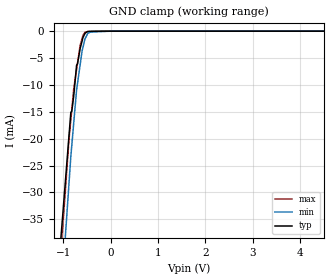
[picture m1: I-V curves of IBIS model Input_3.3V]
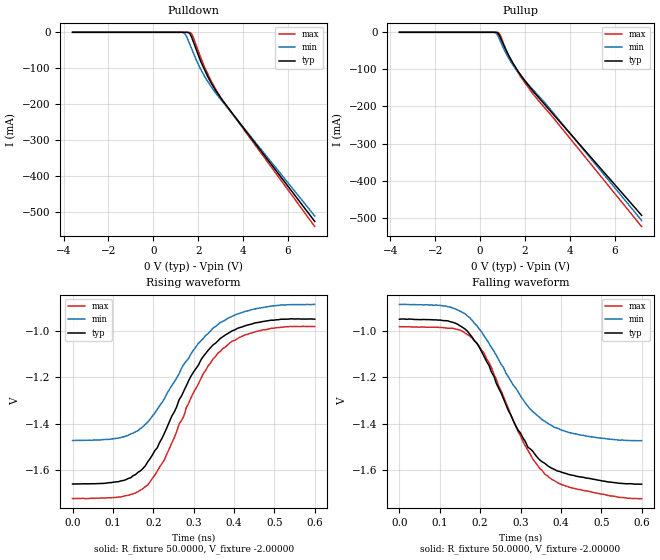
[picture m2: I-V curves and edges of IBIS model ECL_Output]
|COPYRIGHT(C) TERASPEED CONSULTING GROUP LLC 2003 ALL
|RIGHTS RESERVED. THIS WORK CONTAINS PROPRIETARY
|INFORMATION WHICH IS THE PROPERTY OF TERASPEED
|CONSULTING GROUP LLC OR ITS LICENSORS. USE OF THESE
|MATERIALS IS SUBJECT TO THE TERMS BELOW.
|USE: TERASPEED HAS LICENSED IBIS MODELS TO
|SPECIFIC INTEGRATED CIRCUIT SUPPLIERS ("IC VENDORS")
|FOR USE AND DISTRIBUTION AS FOLLOWS: EACH IC VENDOR
|MAY USE IBIS MODELS, AND DISTRIBUTE THEM TO IC VENDOR'S
|CUSTOMERS TO USE, SOLELY FOR DEVELOPING PRINTED
|CIRCUIT BOARD DESIGNS. NO OTHER USE OR DISTRIBUTION
|OF THESE MATERIALS IS PERMITTED.
|DISCLAIMER OF WARRANTY:  UNLESS OTHERWISE AGREED
|IN WRITING, TERASPEED SOFTWARE AND ASSOCIATED
|FILES ARE PROVIDED "AS IS" AND WITHOUT WARRANTY.
|TERASPEED HAS NO OBLIGATION TO SUPPORT OR
|OTHERWISE MAINTAIN SOFTWARE.  TERASPEED MAKES
|NO WARRANTIES, EXPRESS OR IMPLIED WITH RESPECT TO
|SOFTWARE INCLUDING ANY WARRANTY OF MERCHANTABILITY
|OR FITNESS FOR A PARTICULAR PURPOSE.
|LIMITATION OF LIABILITY:  TERASPEED IS NOT LIABLE FOR
|ANY PROPERTY DAMAGE, PERSONAL INJURY, LOSS OF PROFITS,
|INTERRUPTION OF BUSINESS, OR FOR ANY OTHER SPECIAL,
|CONSEQUENTIAL OR INCIDENTAL DAMAGES, HOWEVER CAUSED,
|WHETHER FOR BREACH OF WARRANTY, CONTRACT, TORT
|(INCLUDING NEGLIGENCE), STRICT LIABILITY OR OTHERWISE. IN NO
|EVENT SHALL TERASPEED'S LIABILITY EXCEED THE AMOUNT
|PAID FOR THE PRODUCT GIVING RISE TO THE CLAIM.
|TRADEMARKS:  THE FOLLOWING ARE REGISTERED TRADEMARKS
|OR SERVICE MARKS OF TERASPEED CONSULTING GROUP LLC:
|THE FOLLOWING ARE TRADEMARKS OR SERVICE MARKS OF
|TERASPEED CONSULTING GROUP LLC:
|ALL OTHER BRANDS AND PRODUCT NAMES ARE TRADEMARKS OF
|THEIR RESPECTIVE OWNERS
|COPIES:  ALL COPIES OF SOFTWARE, INCLUDING BUT NOT LIMITED
|TO ANY MODIFICATIONS, ENHANCEMENTS OR DERIVATIVE WORKS
|MUST CONTAIN ALL TERASPEED'S NOTICES AND LEGENDS,
|INCLUDING THOSE EMBEDDED IN SOFTWARE AND THOSE AFFIXED
|TO THE SOFTWARE MEDIUM AND CONTAINER, AS RECEIVED FROM
|TERASPEED.
[IBIS Ver] 3.2
[File Name] mc100ept24d.ibs
[File Rev]  3.0
[Source] Measured and created by Teraspeed Consulting Group LLC
[Date]   09-11-2003
[Notes]  Quality Check of this IBIS model: Model Passes IBIS Check
   Model parses into ICX IS. Simulation done with Hyperlynx.
   1. MIN TYP MAX information is based on Temprature and
   Voltage characteristics only.
[Copyright]
|COPYRIGHT(C) TERASPEED CONSULTING GROUP LLC 2003 ALL
|RIGHTS RESERVED. THIS WORK CONTAINS PROPRIETARY
|INFORMATION WHICH IS THE PROPERTY OF TERASPEED
|CONSULTING GROUP LLC OR ITS LICENSORS. USE OF THESE
|MATERIALS IS SUBJECT TO THE TERMS BELOW.
|USE: TERASPEED HAS LICENSED IBIS MODELS TO
|SPECIFIC INTEGRATED CIRCUIT SUPPLIERS ("IC VENDORS")
|FOR USE AND DISTRIBUTION AS FOLLOWS: EACH IC VENDOR
|MAY USE IBIS MODELS, AND DISTRIBUTE THEM TO IC VENDOR'S
|CUSTOMERS TO USE, SOLELY FOR DEVELOPING PRINTED
|CIRCUIT BOARD DESIGNS. NO OTHER USE OR DISTRIBUTION
|OF THESE MATERIALS IS PERMITTED.
[Component] MC100EPT24D
[Manufacturer] OnSemiconductor
[Package]
| variable   typ   min   max
R_pkg  0.152ohms  0.152ohms  0.152ohms
L_pkg  2.714nH   2.714nH   2.714nH
C_pkg  0.364pF   0.364pF   0.364pF
[Pin] signal_name  model_name  R_pin  L_pin C_pin
1  VEE  POWER   0.154  2.924n  0.374p
2  D   Input_3.3V  0.15   2.504n  0.354p
3  NC   NC   0.15   2.504n  0.354p
4  NC   NC   0.154  2.924n  0.374p
5  GND  GND   0.154  2.924n  0.374p
6  _Q   ECL_Output  0.15   2.504n  0.354p
7  Q   ECL_Output  0.15   2.504n  0.354p
8  VCC  POWER   0.154  2.924n  0.374p
[Diff Pin] inv_pin vdiff tdelay_typ tdelay_min tdelay_max
7 6 NA NA NA NA
| Models and submodels in the file (2): Input_3.3V (Input), ECL_Output (Output_ECL)
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[Model] Input_3.3V
Model_type Input
Vinl = 800.0mV
Vinh = 2.000V
C_comp 2.000pF 2.000pF 2.000pF
| variable typ   min   max
[Voltage Range]   3.30000V  3.00000V  3.60000V
[POWER Clamp Reference]  3.30000V  3.00000V  3.60000V
[GND Clamp Reference]   0.00000V  0.00000V  0.00000V
[Temperature Range]   25   85   0
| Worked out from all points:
|   GND clamp passes 1 mA (typ) near -0.58 V on its own axis
[GND Clamp]
-3.3V     -289.8mA   -340.3mA   -321.7mA
-880.8mV  -19.59mA   -28.47mA   -20.31mA
-840.6mV  -15.1mA    -23.29mA   -16.49mA
-820.6mV  -14.88mA   -21.25mA   -14.6mA
-780.1mV  -12.07mA   -17.12mA   -10.75mA
-719.4mV  -6.323mA   -10.93mA   -7.108mA
-643.5mV  -3.164mA   -6.17mA    -2.551mA
-602.8mV  -1.787mA   -3.62mA    -1.295mA
-542.1mV  -379.2uA   -1.412mA   -177.9uA
-428mV    -502.7nA   -122uA     -11.56uA
41.15mV   34.69uA    47.66uA    29.07uA
6.6V      34.69uA    55.71uA    43.05uA
[POWER Clamp]
-3.6V     0A         0A         0A
-3.5V     0A         0A         0A
-3.4V     0A         0A         0A
7.2V      0A         0A         0A
[Model] ECL_Output
Model_type Output_ECL
Vref  = -2.000V
Rref  = 50.00ohms
Cref  = 0.000F
Vmeas = -1.304V
C_comp  600.0fF 600.0fF 600.0fF
[Model Spec]
Vmeas  -1.304V  -1.179V   -1.351V
| variable typ   min   max
[Voltage Range]   -3.30000V  -3.00000V  -3.60000V
[POWER Clamp Reference]   0.00000V   0.00000V   0.00000V
[Pullup Reference]   0.00000V   0.00000V   0.00000V
[Pulldown Reference]   0.00000V   0.00000V   0.00000V
[GND Clamp Reference]   -3.30000V  -3.00000V  -3.60000V
[Temperature Range]   25   85   0
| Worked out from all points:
|   falling waveform, R_fixture 50.0000, V_fixture -2.00000: 20-80 % time 126ps typ, 133ps min, 121ps max; typ from -0.95 V to -1.66 V
|   rising waveform, R_fixture 50.0000, V_fixture -2.00000: 20-80 % time 129ps typ, 137ps min, 124ps max; typ from -1.66 V to -0.95 V
[GND Clamp]
-7.2V     0A         0A         0A
-6.6V     0A         0A         0A
-6V       0A         0A         0A
3.6V      0A         0A         0A
[Pulldown]
-3.6V     79.33uA    57.58uA    73.24uA
1.3V      79.33uA    -168.3uA   71.69uA
1.462V    -958nA     -9.303mA   71.69uA
1.618V    -2.857mA   -31.87mA   -304.6uA
1.699V    -11.92mA   -44.01mA   -3.335mA
1.78V     -25.36mA   -56.2mA    -13.32mA
1.963V    -55.64mA   -83.67mA   -44.45mA
2.12V     -81.68mA   -103.6mA   -70.67mA
2.423V    -122.4mA   -136mA     -114.6mA
2.579V    -140.5mA   -151.2mA   -135.3mA
3.04V     -185.6mA   -188.8mA   -184.3mA
7.2V      -525.8mA   -510.8mA   -540.1mA
[Pullup]
-3.6V     31.34uA    56.56uA    57.85uA
582.5mV   30.78uA    -37.41uA   24.24uA
719.4mV   -254.1uA   -2.638mA   9.082uA
780.1mV   -1.831mA   -8.485mA   -367.3uA
840.8mV   -7.23mA    -15.99mA   -2.13mA
921.5mV   -17.18mA   -27.06mA   -10.87mA
1.199V    -53.57mA   -62.28mA   -53.61mA
1.558V    -92.33mA   -96.73mA   -95.94mA
2.039V    -134.7mA   -133.4mA   -139.7mA
2.322V    -156mA     -152.4mA   -163.4mA
2.918V    -197.5mA   -192.3mA   -206.5mA
7.2V      -493.9mA   -507.7mA   -524.1mA
[POWER Clamp]
-6.9V     0A         0A         0A
-6.6V     0A         0A         0A
-6.3V     0A         0A         0A
3.9V      0A         0A         0A
[Falling Waveform]
R_fixture = 50.0000
V_fixture = -2.00000
V_fixture_min = -2.00000
V_fixture_max = -2.00000
0s        -949.6mV   -886.1mV   -981.7mV
120ps     -956.9mV   -895.7mV   -988.5mV
162ps     -991.2mV   -925.5mV   -1.009V
180ps     -1.027V    -954.5mV   -1.031V
228ps     -1.178V    -1.072V    -1.157V
282ps     -1.387V    -1.234V    -1.385V
318ps     -1.5V      -1.324V    -1.513V
366ps     -1.579V    -1.397V    -1.623V
426ps     -1.621V    -1.44V     -1.676V
600ps     -1.66V     -1.472V    -1.722V
[Rising Waveform]
R_fixture = 50.0000
V_fixture = -2.00000
V_fixture_min = -2.00000
V_fixture_max = -2.00000
0s        -1.66V     -1.472V    -1.722V
126ps     -1.645V    -1.457V    -1.713V
168ps     -1.604V    -1.421V    -1.687V
186ps     -1.565V    -1.394V    -1.664V
228ps     -1.439V    -1.291V    -1.554V
294ps     -1.193V    -1.098V    -1.286V
336ps     -1.084V    -1.012V    -1.15V
378ps     -1.018V    -954.2mV   -1.071V
474ps     -959.3mV   -898.9mV   -995.2mV
600ps     -949.6mV   -886.1mV   -981.7mV
[Ramp]
| variable typ min max
dV/dt_r 422.790m/133.942p 351.068m/141.899p 442.003m/131.913p
dV/dt_f 422.790m/134.937p 351.068m/146.726p 442.003m/133.364p
R_load = 50.0000Ohms
